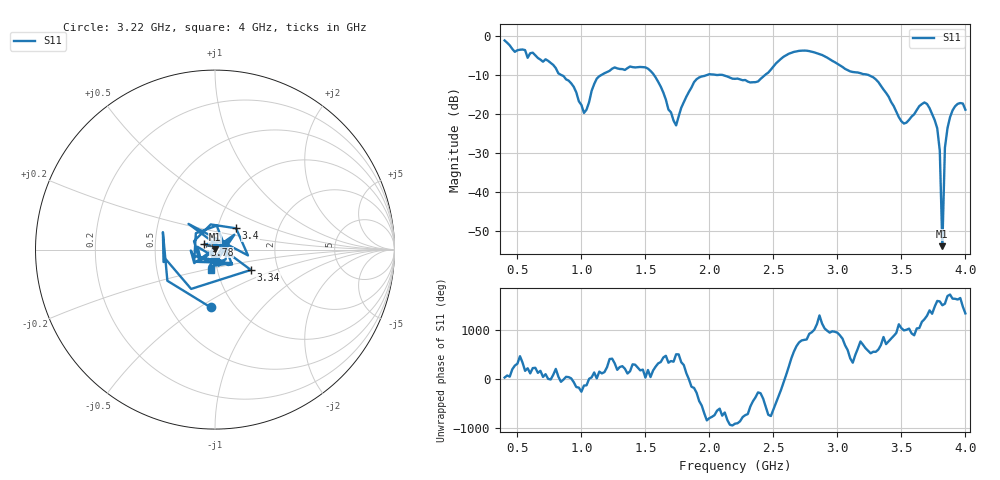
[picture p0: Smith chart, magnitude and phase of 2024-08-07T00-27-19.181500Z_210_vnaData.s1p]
!Created with skrf (http://scikit-rf.org).
# Hz S RI R 50.0
!freq ReS11 ImS11
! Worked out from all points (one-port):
!   181 points, 400 MHz to 4 GHz, reference 50 ohm
!   lowest |S11| = -53.9 dB at 3.82 GHz (marker M1), VSWR 1.00, Z = 50.1 + j0.184 ohm
!   |S11| at or under -10 dB: 1.567 GHz to 1.982 GHz (415.3 MHz wide, 23.4 % of centre); 2.102 GHz to 2.435 GHz (333.3 MHz wide, 14.7 % of centre); 3.242 GHz to end of sweep (the widest 3 of 5)
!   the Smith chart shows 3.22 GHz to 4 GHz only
!   S11 on the Smith chart (normalised r, x): 3.22 GHz: 0.78, -0.56; 3.34 GHz: 1.45, -0.35; 3.4 GHz: 1.23, +0.30; 3.78 GHz: 0.89, +0.05; 4 GHz: 0.93, -0.21
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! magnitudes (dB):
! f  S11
! 400 MHz  -1.2
! 860 MHz  -10.3
! 940 MHz  -13.0
! 1.02 GHz  -19.7
! 1.12 GHz  -10.9
! 1.3 GHz  -8.5
! 1.52 GHz  -8.4
! 1.62 GHz  -13.0
! 1.74 GHz  -22.9
! 1.76 GHz  -20.6
! 1.92 GHz  -10.6
! 2.2 GHz  -11.0
! 2.38 GHz  -11.7
! 2.66 GHz  -4.1
! 3.1 GHz  -9.1
! 3.22 GHz  -9.8
! 3.34 GHz  -12.8
! 3.4 GHz  -15.6
! 3.5 GHz  -21.9
! 3.56 GHz  -21.5
! 3.68 GHz  -17.1
! 3.78 GHz  -23.7
! 3.8 GHz  -29.4
! 3.82 GHz  -53.9
! 3.84 GHz  -28.7
! 3.86 GHz  -23.6
! 3.92 GHz  -18.0
! 4 GHz  -18.9
